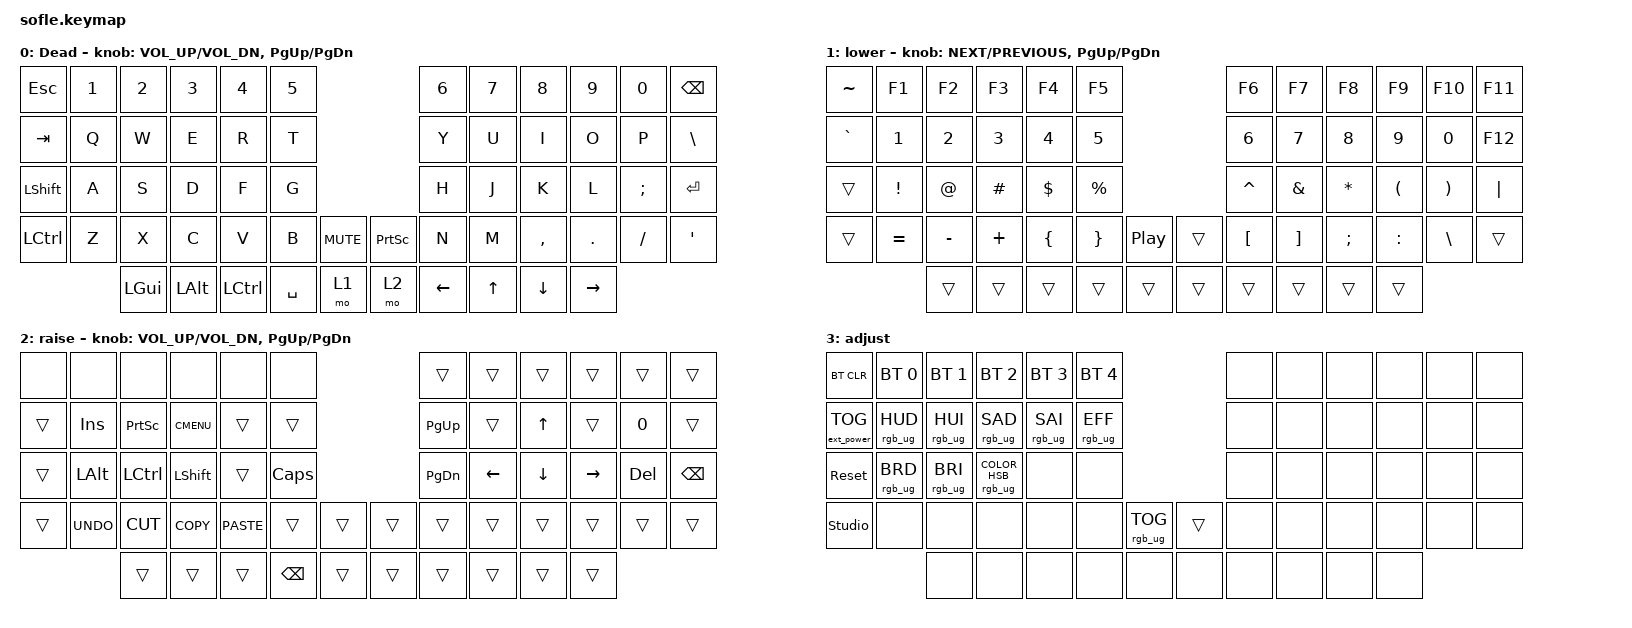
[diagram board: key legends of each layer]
/*
 * Copyright (c) 2020 The ZMK Contributors
 *
 * SPDX-License-Identifier: MIT
 */

#include <behaviors.dtsi>
#include <dt-bindings/zmk/bt.h>
#include <dt-bindings/zmk/ext_power.h>
#include <dt-bindings/zmk/keys.h>
#include <dt-bindings/zmk/rgb.h>
#include <dt-bindings/zmk/pointing.h>

#define BASE 0
#define LOWER 1
#define RAISE 2
#define ADJUST 3

/ {
    // Activate ADJUST layer by pressing raise and lower

    conditional_layers {
        compatible = "zmk,conditional-layers";

        adjust_layer {
            if-layers = <1 2>;
            then-layer = <3>;
        };
    };

    keymap {
        compatible = "zmk,keymap";

        default_layer {
            display-name = "Dead";

            // ------------------------------------------------------------------------------------------------------------
            // |   `   |  1  |  2  |  3   |  4   |  5   |                   |  6   |  7    |  8    |  9   |   0   |       |
            // |  ESC  |  Q  |  W  |  E   |  R   |  T   |                   |  Y   |  U    |  I    |  O   |   P   | BKSPC |
            // |  TAB  |  A  |  S  |  D   |  F   |  G   |                   |  H   |  J    |  K    |  L   |   ;   |   '   |
            // | SHIFT |  Z  |  X  |  C   |  V   |  B   |  MUTE  |  |       |  N   |  M    |  ,    |  .   |   /   | SHIFT |
            //               | GUI | ALT  | CTRL | LOWER|  ENTER |  | SPACE | RAISE| CTRL  | ALT   | GUI  |

            bindings = <
&kp ESCAPE        &kp N1  &kp N2    &kp N3    &kp N4     &kp N5                                    &kp N6          &kp N7        &kp N8     &kp N9           &kp N0    &kp BACKSPACE
&kp TAB           &kp Q   &kp W     &kp E     &kp R      &kp T                                     &kp Y           &kp U         &kp I      &kp O            &kp P     &kp BACKSLASH
&kp LEFT_SHIFT    &kp A   &kp S     &kp D     &kp F      &kp G                                     &kp H           &kp J         &kp K      &kp L            &kp SEMI  &kp ENTER
&kp LEFT_CONTROL  &kp Z   &kp X     &kp C     &kp V      &kp B      &kp C_MUTE    &kp PRINTSCREEN  &kp N           &kp M         &kp COMMA  &kp DOT          &kp FSLH  &kp SQT
                          &kp LGUI  &kp LALT  &kp LCTRL  &kp SPACE  &mo 1         &mo 2            &kp LEFT_ARROW  &kp UP_ARROW  &kp DOWN   &kp RIGHT_ARROW
            >;

            sensor-bindings = <&inc_dec_kp C_VOL_UP C_VOL_DN &inc_dec_kp PG_UP PG_DN>;
        };

        lower_layer {
            display-name = "lower";

            // TODO: Some binds are waiting for shifted keycode support.
            // ------------------------------------------------------------------------------------------------------------
            // |       |  F1 |  F2 |  F3  |  F4  |  F5  |                   |  F6  |  F7   |  F8   |  F9  |  F10  |  F11  |
            // |   `   |  1  |  2  |  3   |  4   |  5   |                   |  6   |  7    |  8    |  9   |   0   |  F12  |
            // |       |  !  |  @  |  #   |  $   |  %   |                   |  ^   |  &    |  *    |  (   |   )   |   |   |
            // |       |  =  |  -  |  +   |  {   |  }   |        |  |       |  [   |  ]    |  ;    |  :   |   \   |       |
            //               |     |      |      |      |        |  |       |      |       |       |      |

            bindings = <
&kp TILDE  &kp F1     &kp F2     &kp F3    &kp F4    &kp F5                                 &kp F6     &kp F7    &kp F8     &kp F9     &kp F10   &kp F11
&kp GRAVE  &kp N1     &kp N2     &kp N3    &kp N4    &kp N5                                 &kp N6     &kp N7    &kp N8     &kp N9     &kp N0    &kp F12
&trans     &kp EXCL   &kp AT     &kp HASH  &kp DLLR  &kp PRCNT                              &kp CARET  &kp AMPS  &kp ASTRK  &kp LPAR   &kp RPAR  &kp PIPE
&trans     &kp EQUAL  &kp MINUS  &kp PLUS  &kp LBRC  &kp RBRC   &kp C_PLAY_PAUSE    &trans  &kp LBKT   &kp RBKT  &kp SEMI   &kp COLON  &kp BSLH  &trans
                      &trans     &trans    &trans    &trans     &trans              &trans  &trans     &trans    &trans     &trans
            >;

            sensor-bindings =
                <&inc_dec_kp C_NEXT C_PREVIOUS>,
                <&inc_dec_kp PG_UP PG_DN>;
        };

        raise_layer {
            display-name = "raise";

            // ------------------------------------------------------------------------------------------------------------
            // | BTCLR | BT1  | BT2  |  BT3  |  BT4  |  BT5 |                |      |      |       |      |       |       |
            // |       | INS  | PSCR | GUI   |       |      |                | PGUP |      |   ^   |      |       |       |
            // |       | ALT  | CTRL | SHIFT |       | CAPS |                | PGDN |   <- |   v   |  ->  |  DEL  | BKSPC |
            // |       | UNDO | CUT  | COPY  | PASTE |      |      |  |      |      |      |       |      |       |       |
            //                |      |       |       |      |      |  |      |      |      |       |      |

            bindings = <
&none   &none       &none      &none        &none        &none                            &trans     &trans    &trans    &trans     &trans   &trans
&trans  &kp INS     &kp PSCRN  &kp K_CMENU  &trans       &trans                           &kp PG_UP  &trans    &kp UP    &trans     &kp N0   &trans
&trans  &kp LALT    &kp LCTRL  &kp LSHFT    &trans       &kp CLCK                         &kp PG_DN  &kp LEFT  &kp DOWN  &kp RIGHT  &kp DEL  &kp BSPC
&trans  &kp K_UNDO  &kp K_CUT  &kp K_COPY   &kp K_PASTE  &trans         &trans    &trans  &trans     &trans    &trans    &trans     &trans   &trans
                    &trans     &trans       &trans       &kp BACKSPACE  &trans    &trans  &trans     &trans    &trans    &trans
            >;

            sensor-bindings = <&inc_dec_kp C_VOL_UP C_VOL_DN &inc_dec_kp PG_UP PG_DN>;
        };

        adjust_layer {
            // ----------------------------------------------------------------------------------------------------------------------------
            // | BTCLR  |  BT1    |  BT2    |   BT3   |   BT4   |   BT5   |                  |      |      |       |      |       |       |
            // | EXTPWR | RGB_HUD | RGB_HUI | RGB_SAD | RGB_SAI | RGB_EFF |                  |      |      |       |      |       |       |
            // |        | RGB_BRD | RGB_BRI |         |         |         |                  |      |      |       |      |       |       |
            // |        |         |         |         |         |         | RGB_TOG | |      |      |      |       |      |       |       |
            //                    |         |         |         |         |         | |      |      |      |       |      |

            display-name = "adjust";
            bindings = <
&bt BT_CLR         &bt BT_SEL 0     &bt BT_SEL 1     &bt BT_SEL 2                    &bt BT_SEL 3     &bt BT_SEL 4                                &none  &none  &none  &none  &none  &none
&ext_power EP_TOG  &rgb_ug RGB_HUD  &rgb_ug RGB_HUI  &rgb_ug RGB_SAD                 &rgb_ug RGB_SAI  &rgb_ug RGB_EFF                             &none  &none  &none  &none  &none  &none
&sys_reset         &rgb_ug RGB_BRD  &rgb_ug RGB_BRI  &rgb_ug RGB_COLOR_HSB(0,0,100)  &none            &none                                       &none  &none  &none  &none  &none  &none
&studio_unlock     &none            &none            &none                           &none            &none            &rgb_ug RGB_TOG    &trans  &none  &none  &none  &none  &none  &none
                                    &none            &none                           &none            &none            &none              &none   &none  &none  &none  &none
            >;
        };
    };
};
